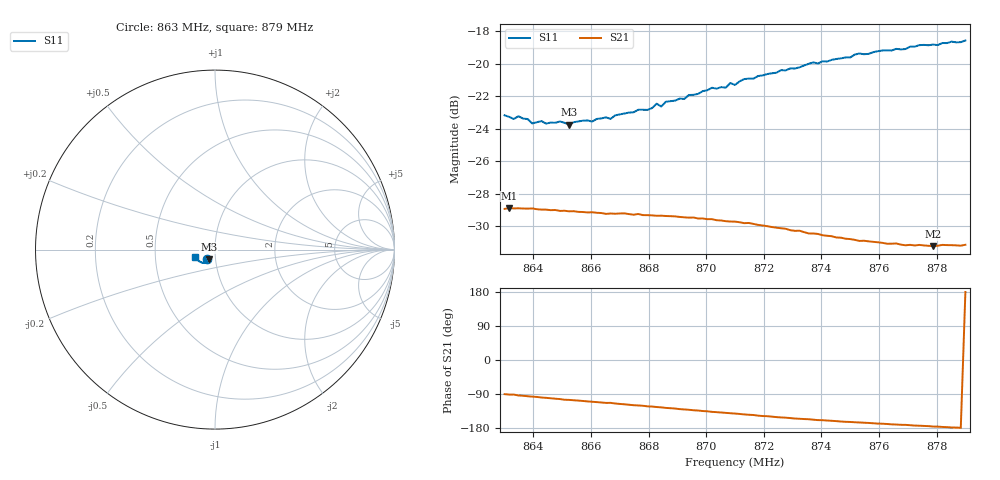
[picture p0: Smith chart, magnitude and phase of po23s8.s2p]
# HZ S RI R 50
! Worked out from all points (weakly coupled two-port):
!   101 points, 863 MHz to 879 MHz, reference 50 ohm
!   highest |S21| = -28.89 dB at 863.16 MHz (marker M1); lowest = -31.2 dB at 877.88 MHz (marker M2)
!   lowest |S11| = -23.7 dB at 865.24 MHz (marker M3), VSWR 1.14, Z = 46.3 - j5.07 ohm
!   |S11| at or under -10 dB: start of sweep to end of sweep
!   S12 and S22 are empty: the file has one direction only
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8.63e8  -0.0453 -0.0526  -5.7e-05 -0.0357  0 0  0 0
8.6316e8  -0.0437 -0.0529  -0.00085 -0.0359  0 0  0 0
8.6348e8  -0.0441 -0.053  -0.00227 -0.0358  0 0  0 0
8.6396e8  -0.0392 -0.0524  -0.00416 -0.0356  0 0  0 0
8.6492e8  -0.0374 -0.0549  -0.00797 -0.0343  0 0  0 0
8.6524e8  -0.0354 -0.0545  -0.00924 -0.0339  0 0  0 0
8.6572e8  -0.0353 -0.0567  -0.0109 -0.0332  0 0  0 0
8.6668e8  -0.0343 -0.0583  -0.0135 -0.0318  0 0  0 0
8.6796e8  -0.0342 -0.0635  -0.0183 -0.0289  0 0  0 0
8.6828e8  -0.0364 -0.066  -0.0191 -0.0282  0 0  0 0
8.6844e8  -0.0359 -0.0645  -0.0195 -0.0279  0 0  0 0
8.686e8  -0.0363 -0.0672  -0.0202 -0.0273  0 0  0 0
8.6924e8  -0.0384 -0.0679  -0.0218 -0.0256  0 0  0 0
8.702e8  -0.0436 -0.0722  -0.0242 -0.0227  0 0  0 0
8.7068e8  -0.0446 -0.0717  -0.0249 -0.0213  0 0  0 0
8.7084e8  -0.0481 -0.0728  -0.0252 -0.0208  0 0  0 0
8.71e8  -0.0469 -0.0722  -0.0255 -0.0204  0 0  0 0
8.7132e8  -0.0506 -0.0742  -0.026 -0.0192  0 0  0 0
8.7372e8  -0.0684 -0.0743  -0.0277 -0.0115  0 0  0 0
8.7644e8  -0.0913 -0.0613  -0.0274 -0.00494  0 0  0 0
8.7788e8  -0.1029 -0.0506  -0.0273 -0.0021  0 0  0 0
8.79e8  -0.1108 -0.0408  -0.0277 0.000226  0 0  0 0
